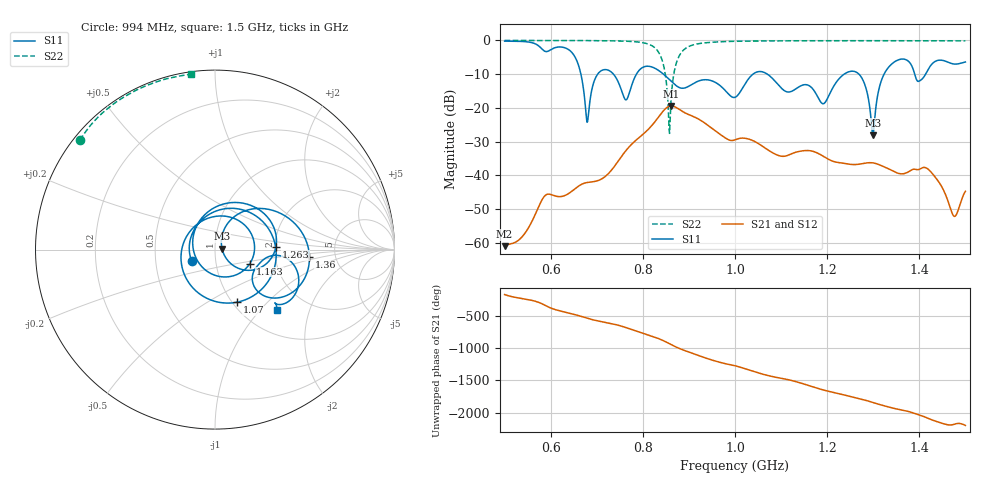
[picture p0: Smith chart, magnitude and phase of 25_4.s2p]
! TOUCHSTONE file generated by CST MICROWAVE STUDIO
! Date and time: Sat Nov 14 20:01:48 2020
! Project name: Scenario_1_Planar_Body_Tissue_Out_of_Line.cst
! Parameters = {dy1=-69.2; L_HA=400; Ltissue=700; MT=2.54; Rad_Dielectric=30; Rad_Lower=7.3; Rad_Upper=30; Wtissue=700; a_HA=580; a_WG=246; b_HA=500; b_WG=121; c_HA=0; c_WG=187; d_feed=85; dx1=693; h_feed=15; h_lower=18; h_upper=40; hfat=3; hgap=25; hmuscle=50; hskin=1.5}
! Header version: 2018
! Port assignment regex: !\s*Touchstone port\s*([0-9]+)\s*=\s*(CST MWS port|CST DS port)\s*([0-9]+|Zmin|Zmax)\s*\(\"(.*)\"\)(\s*mode\s*([0-9]+))?.*
! Touchstone port assignment:
! Touchstone port 1 = CST MWS port 1 ("")
! Touchstone port 2 = CST MWS port 2 ("")
# GHz S DB R 50
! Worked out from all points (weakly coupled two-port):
!   1003 points, 500 MHz to 1.5 GHz, reference 50 ohm
!   highest |S21| = -19.40 dB at 862 MHz (marker M1); lowest = -60.9 dB at 500 MHz (marker M2)
!   lowest |S11| = -28.1 dB at 1.299 GHz (marker M3), VSWR 1.08, Z = 54.1 + j0.547 ohm
!   |S11| at or under -10 dB: 844.8 MHz to 1.039 GHz (194.1 MHz wide, 20.6 % of centre); 1.07 GHz to 1.237 GHz (166.4 MHz wide, 14.4 % of centre); 1.269 GHz to 1.323 GHz (54.34 MHz wide, 4.19 % of centre) (the widest 3 of 6)
!   |S22| runs from -27.5 to 0.0 dB; largest |S21 - S12| = 5.7e-06
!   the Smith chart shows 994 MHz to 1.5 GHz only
!   S11 on the Smith chart (normalised r, x): 994 MHz: 0.77, -0.10; 1.07 GHz: 1.05, -0.68; 1.163 GHz: 1.46, -0.24; 1.263 GHz: 2.03, +0.07; 1.36 GHz: 3.19, -0.38; 1.5 GHz: 1.42, -1.23
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0.5  -0.21 -121.5  -60.93 -170.4  -60.93 -170.4  -0.01 151.2
0.622  -1.94 173.1  -46.24 -66.5  -46.24 -66.5  -0.02 142.4
0.667  -10.91 97.6  -42.62 -151.4  -42.62 -151.4  -0.04 138.4
0.68  -24.06 156.5  -42.06 -179.6  -42.06 -179.6  -0.05 137.1
0.71  -8.94 160.1  -41.06 130.5  -41.06 130.5  -0.08 133.6
0.763  -17.60 -24.7  -32.68 39.2  -32.68 39.2  -0.22 124.8
0.797  -8.22 164.8  -28.18 -42.1  -28.18 -42.1  -0.60 113.9
0.834  -8.87 58.6  -22.70 -131.6  -22.70 -131.6  -3.46 83.4
0.862  -12.16 -29.9  -19.40 132.5  -19.40 132.5  -16.18 -130.6
0.888  -14.15 -134.5  -21.19 50.3  -21.19 50.3  -2.89 178.3
0.994  -16.77 -152.8  -29.64 176.9  -29.64 176.9  -0.27 141.0
1  -16.84 175.8  -29.45 167.6  -29.45 167.6  -0.26 140.1
1.07  -9.97 -67.4  -32.29 18.5  -32.29 18.5  -0.15 132.4
1.163  -13.59 -21.8  -32.67 -145.3  -32.67 -145.3  -0.09 124.5
1.167  -14.08 -35.8  -32.77 -154.4  -32.77 -154.4  -0.09 124.2
1.263  -9.38 2.6  -36.74 30.9  -36.74 30.9  -0.08 116.9
1.299  -28.06 7.3  -36.26 -40.5  -36.26 -40.5  -0.08 114.2
1.334  -7.83 31.1  -38.07 -112.6  -38.07 -112.6  -0.09 111.5
1.36  -5.55 -4.7  -39.50 -155.2  -39.50 -155.2  -0.09 109.5
1.419  -8.64 -5.5  -38.12 73.0  -38.12 73.0  -0.10 104.8
1.476  -7.00 -41.7  -52.10 -17.9  -52.10 -17.8  -0.12 100.1
1.5  -6.39 -44.3  -44.69 -36.8  -44.69 -36.8  -0.12 97.9
